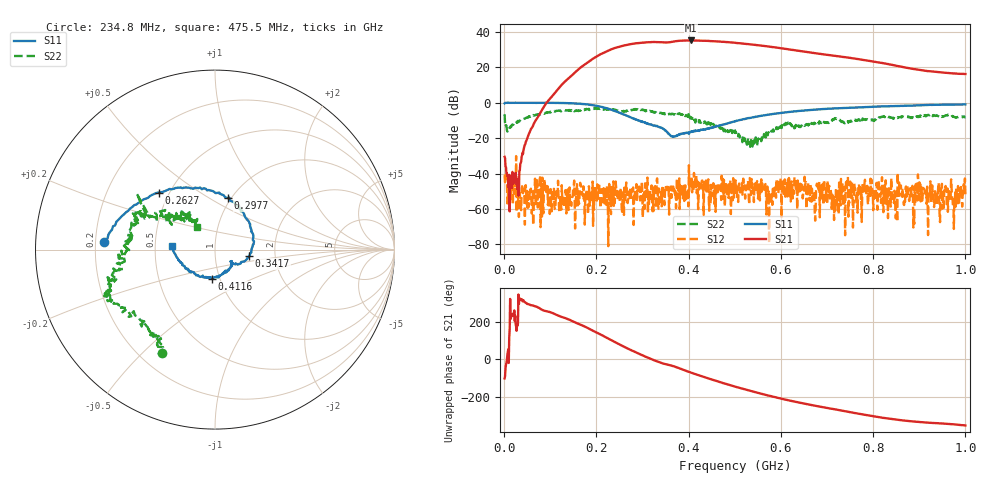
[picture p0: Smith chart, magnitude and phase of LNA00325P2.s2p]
! Created with skrf 1.9.0 (http://scikit-rf.org).
# Hz S RI R 50.0
!freq ReS11 ImS11 ReS21 ImS21 ReS12 ImS12 ReS22 ImS22
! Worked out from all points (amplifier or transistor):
!   1001 points, 1 MHz to 1 GHz, reference 50 ohm
!   highest |S21| = 35.2 dB at 404.6 MHz (marker M1)
!   |S21| within 3 dB of that: 257.1 MHz to 560.5 MHz (303.5 MHz wide, 74.2 % of centre)
!   unconditionally stable (mu >= 1): 8.294 MHz to 76.61 MHz; 310.8 MHz to 400.3 MHz; 401 MHz to end of sweep (the widest 3 of 31)
!   at 166.8 MHz: K = 0.91, MSG = 33.5 dB, |S12| = -46.9 dB
!   at 500.5 MHz: K = 1.88, MAG = 34.4 dB, |S12| = -45.6 dB
!   at 1 GHz: K = 4.91, MAG = 24.1 dB, |S12| = -51.7 dB
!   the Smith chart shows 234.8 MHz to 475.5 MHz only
!   S11 on the Smith chart (normalised r, x): 234.8 MHz: 0.23, +0.03; 262.7 MHz: 0.44, +0.35; 297.7 MHz: 0.97, +0.61; 341.7 MHz: 1.47, -0.11; 411.6 MHz: 0.92, -0.30; 475.5 MHz: 0.61, +0.03
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1000000  0.9647 -0.00256  -0.00543 -0.029  -0.00856 -0.00246  0.3703 0.2931
1.08892e8  0.509 -0.8535  -0.8689 -1.602  0.000949 0.000677  0.4236 -0.3778
1.67833e8  -0.2531 -0.8949  -10.41 -0.383  -0.00051 0.00264  0.037 -0.6331
2.06794e8  -0.6629 -0.4185  -16.14 16.04  -0.00126 -0.00208  -0.1672 -0.6472
2.34766e8  -0.6187 0.0411  -5.275 32.97  -0.00131 -0.00125  -0.2962 -0.576
2.62738e8  -0.3123 0.318  18.47 37.97  0.00108 -0.00146  -0.4281 -0.3748
2.97703e8  0.0719 0.2875  45.17 20.15  -0.000703 0.00167  -0.5882 -0.2363
3.17683e8  0.1884 0.1571  51.49 3.045  -0.00277 0.00241  -0.5555 -0.1249
3.34666e8  0.2093 0.016  50.44 -11.8  -0.000658 0.000764  -0.532 -0.0444
3.41659e8  0.1904 -0.0347  48.53 -16.8  -0.000329 0.00114  -0.5086 -0.0346
3.75625e8  0.0913 -0.0729  40.53 -38.17  -0.00183 -0.00152  -0.4191 0.1691
4.04596e8  0.0249 -0.1495  20.25 -53.97  -0.000927 0.00584  -0.3242 0.1936
4.11589e8  -0.0173 -0.1616  14.72 -55.25  0.00407 0.00955  -0.2364 0.1733
4.41559e8  -0.1452 -0.1215  -9.499 -55.3  -0.00118 0.00399  -0.1655 0.1526
4.75525e8  -0.242 0.0215  -30.81 -42.86  0.00187 0.000428  -0.0991 0.1258
5.005e8  -0.2508 0.1522  -40.27 -29.26  -0.00394 -0.00342  -0.1217 0.1112
5.4046e8  -0.1702 0.3496  -43.07 -6.862  0.00174 -0.0027  -0.0675 -0.00596
5.85415e8  0.0242 0.4867  -35 12.12  0.00423 -0.00153  -0.1629 -0.0744
6.67333e8  0.4077 0.4798  -12 22.79  0.000772 -0.00366  -0.2656 -0.0121
7.55245e8  0.68 0.2704  3.563 17.7  0.0018 -0.00295  -0.3045 0.0867
8.34166e8  0.7953 0.0221  8.452 8.87  -0.00381 -0.000425  -0.3763 0.1171
1e9  0.7282 -0.5253  6.394 1.152  -0.00239 0.00101  -0.1278 0.3688
